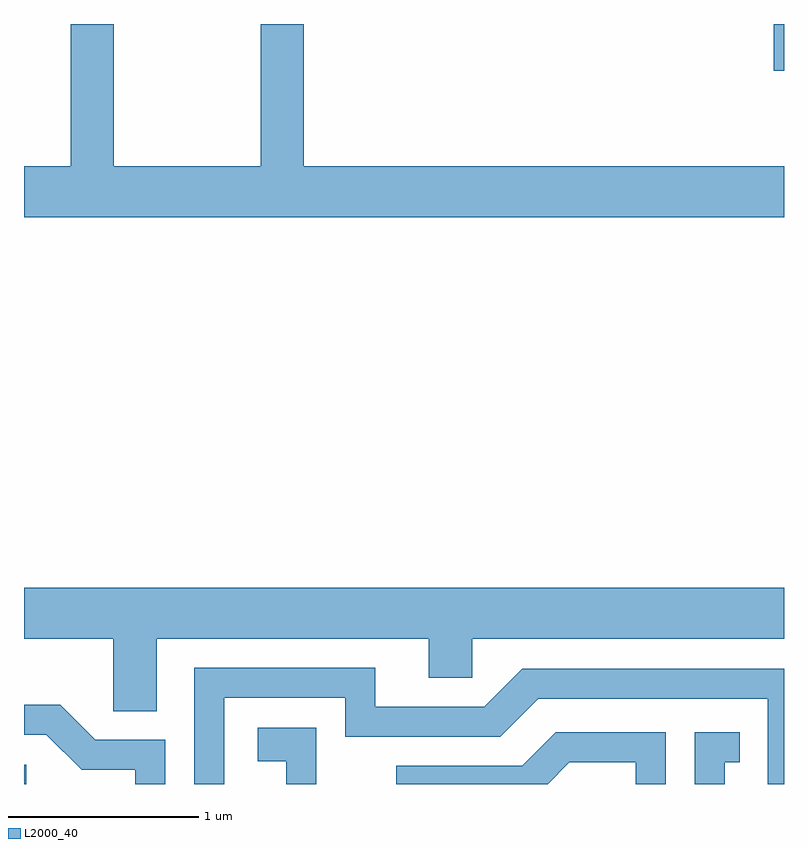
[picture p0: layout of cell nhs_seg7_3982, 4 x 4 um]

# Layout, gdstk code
import gdstk
lib = gdstk.Library(unit=1e-6, precision=1e-09)
def R(c, l, rs):  # rectangles x0, y0, x1, y1
    for r in rs: c.add(gdstk.rectangle(r[:2], r[2:], *l))
def P(c, l, *ps):  # polygons
    for p in ps: c.add(gdstk.Polygon(p, *l))
L2000_40 = (2000, 40)

nhs_seg7_3982 = lib.new_cell('nhs_seg7_3982')
R(nhs_seg7_3982, L2000_40, [(307.611,1680.252,307.624,1680.354), (311.556,1684.006,311.611,1684.252)])
P(nhs_seg7_3982, L2000_40, [(311.611,1683.504),(309.084,1683.504),(309.084,1684.252),(308.856,1684.252),(308.856,1683.504),(308.084,1683.504),(308.084,1684.252),(307.856,1684.252),(307.856,1683.504),(307.611,1683.504),(307.611,1683.236),(311.611,1683.236)],
  [(308.309,1681.016),(309.741,1681.016),(309.741,1680.811),(309.969,1680.811),(309.969,1681.016),(311.611,1681.016),(311.611,1681.284),(307.611,1681.284),(307.611,1681.016),(308.081,1681.016),(308.081,1680.636),(308.309,1680.636)],
  [(308.664,1680.706),(309.301,1680.706),(309.301,1680.501),(310.117,1680.501),(310.317,1680.701),(311.526,1680.701),(311.526,1680.252),(311.611,1680.252),(311.611,1680.859),(310.234,1680.859),(310.034,1680.659),(309.459,1680.659),(309.459,1680.864),(308.506,1680.864),(308.506,1680.252),(308.664,1680.252)],
  [(308.354,1680.484),(307.987,1680.484),(307.802,1680.669),(307.611,1680.669),(307.611,1680.511),(307.729,1680.511),(307.914,1680.326),(308.196,1680.326),(308.196,1680.252),(308.354,1680.252)],
  [(309.149,1680.549),(308.841,1680.549),(308.841,1680.371),(308.991,1680.371),(308.991,1680.252),(309.149,1680.252)],
  [(310.482,1680.366),(310.831,1680.366),(310.831,1680.252),(310.989,1680.252),(310.989,1680.524),(310.409,1680.524),(310.234,1680.349),(309.571,1680.349),(309.571,1680.252),(310.368,1680.252)],
  [(311.299,1680.366),(311.378,1680.366),(311.378,1680.524),(311.141,1680.524),(311.141,1680.252),(311.299,1680.252)])

lib.write_gds('nhs_seg7_3982.gds')
